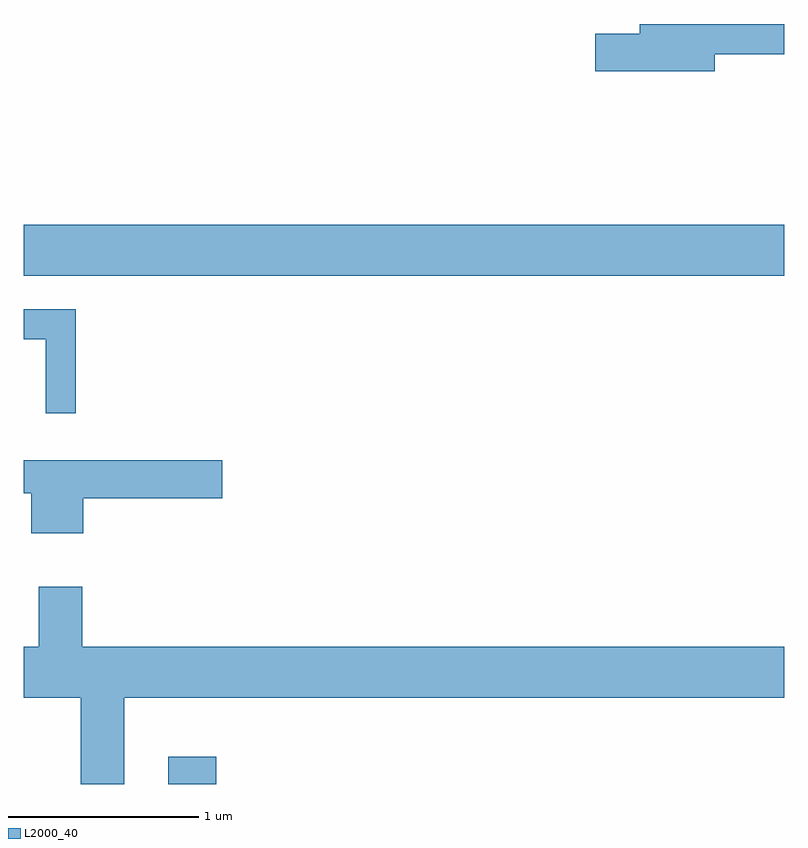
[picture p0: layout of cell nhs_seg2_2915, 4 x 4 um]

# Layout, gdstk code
import gdstk
lib = gdstk.Library(unit=1e-6, precision=1e-09)
def R(c, l, rs):  # rectangles x0, y0, x1, y1
    for r in rs: c.add(gdstk.rectangle(r[:2], r[2:], *l))
def P(c, l, *ps):  # polygons
    for p in ps: c.add(gdstk.Polygon(p, *l))
L2000_40 = (2000, 40)

nhs_seg2_2915 = lib.new_cell('nhs_seg2_2915')
R(nhs_seg2_2915, L2000_40, [(270.371,1107.802,270.624,1107.944), (269.611,1110.476,273.611,1110.744)])
P(nhs_seg2_2915, L2000_40, [(273.244,1111.641),(273.611,1111.641),(273.611,1111.799),(272.851,1111.799),(272.851,1111.749),(272.616,1111.749),(272.616,1111.551),(273.244,1111.551)],
  [(269.884,1110.299),(269.611,1110.299),(269.611,1110.141),(269.726,1110.141),(269.726,1109.753),(269.884,1109.753)],
  [(269.924,1109.306),(270.654,1109.306),(270.654,1109.504),(269.611,1109.504),(269.611,1109.331),(269.651,1109.331),(269.651,1109.121),(269.924,1109.121)],
  [(270.139,1108.256),(273.611,1108.256),(273.611,1108.524),(269.919,1108.524),(269.919,1108.839),(269.691,1108.839),(269.691,1108.524),(269.611,1108.524),(269.611,1108.256),(269.911,1108.256),(269.911,1107.802),(270.139,1107.802)])

lib.write_gds('nhs_seg2_2915.gds')
